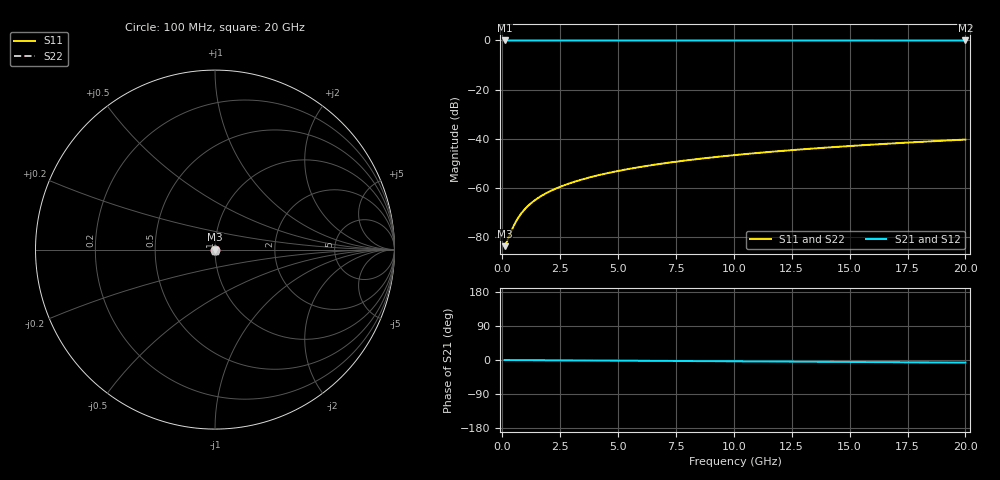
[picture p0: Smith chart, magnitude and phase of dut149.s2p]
! Touchstone file exported from HFSS 2026.1.0
!  File:  C:/ffzhzh/LocalFiles/Ansys_Project_Files/temp_train_TSV_149_1782990576_40604.aedt
!  Generated:  07:10:57 PM Jul  2, 2026
!  Design:  TSV
!  Project:  temp_train_TSV_149_1782990576_40604
! Variables:
!  h_bsmrdl = 2um
!  h_ox = 20um
!  h_rdl = 5um
!  h_sub = 65.43um
!  h_tmrdl = 5um
!  h_tsv = 65.43um
!  h_via = 3um
!  l_bsmrdl = 300um
!  l_sub = 429.34um
!  l_tmrdl = 200um
!  m_sub = 200um
!  pitch = 53.66um
!  r_tsv = 14.67um
!  s_tmrdl = 10um
!  w_bsmrdl = 18um
!  w_sub = 500um
!  w_tmrdl = 12um
!  x_tsv_center1 = 206um
!  x_tsv_center2 = 524um
!  x_tsv_center3 = 736um
!  x_tsv_center4 = 1054um
!  x_tsv_center5 = 1266um
!  x_tsv_center6 = 1584um
# GHz S MA R 50.000000
! Terminal data exported
! Port[1] = TSV1_1_T1
! Port[2] = TSV1_1_T2
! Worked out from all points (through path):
!   200 points, 100 MHz to 20 GHz, reference 50 ohm
!   highest |S21| = 0.00 dB at 100 MHz (marker M1); lowest = 0.0 dB at 20 GHz (marker M2)
!   lowest |S11| = -83.7 dB at 100 MHz (marker M3), VSWR 1.00, Z = 50 - j0.00138 ohm
!   |S11| at or under -10 dB: start of sweep to end of sweep
!   |S22| runs from -83.7 to -40.3 dB; largest |S21 - S12| = 4.2e-15
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0.1  6.564e-05 -12.1  0.9999 -0.0  0.9999 -0.0  6.564e-05 -12.1
! Gamma 0 0 0 0
! Port Impedance 50 0 50 0
0.2  8.141e-05 -22.2  0.9999 -0.1  0.9999 -0.1  8.141e-05 -22.2
0.3  0.0001058 -29.9  0.9999 -0.1  0.9999 -0.1  0.0001058 -29.9
0.5  0.0001725 -41.3  0.9999 -0.2  0.9999 -0.2  0.0001725 -41.3
0.6  0.0002117 -45.7  0.9999 -0.2  0.9999 -0.2  0.0002117 -45.7
0.8  0.0002957 -52.7  0.9998 -0.3  0.9998 -0.3  0.0002957 -52.7
0.9  0.0003393 -55.5  0.9998 -0.3  0.9998 -0.3  0.0003393 -55.5
1.1  0.0004279 -60.1  0.9998 -0.4  0.9998 -0.4  0.0004279 -60.1
1.4  0.0005622 -65.1  0.9998 -0.5  0.9998 -0.5  0.0005622 -65.1
1.8  0.0007419 -69.5  0.9997 -0.6  0.9997 -0.6  0.0007419 -69.5
2.3  0.0009673 -73.2  0.9997 -0.8  0.9997 -0.8  0.0009673 -73.2
2.9  0.00124 -75.9  0.9997 -1.0  0.9997 -1.0  0.00124 -75.9
3.5  0.001516 -77.8  0.9996 -1.2  0.9996 -1.2  0.001516 -77.8
4.2  0.001842 -79.4  0.9996 -1.5  0.9996 -1.5  0.001842 -79.4
5  0.002219 -80.8  0.9996 -1.7  0.9996 -1.7  0.002219 -80.8
5.9  0.00265 -82.1  0.9995 -2.0  0.9995 -2.0  0.00265 -82.1
6.8  0.003085 -83.1  0.9995 -2.3  0.9995 -2.3  0.003085 -83.1
8.3  0.003817 -84.6  0.9994 -2.9  0.9994 -2.9  0.003817 -84.6
10.1  0.004702 -86.1  0.9994 -3.5  0.9994 -3.5  0.004702 -86.1
13.4  0.006336 -88.4  0.9993 -4.6  0.9993 -4.6  0.006336 -88.4
16.7  0.007986 -90.2  0.9992 -5.7  0.9992 -5.7  0.007986 -90.2
20  0.009654 -91.8  0.9991 -6.9  0.9991 -6.9  0.009654 -91.8
